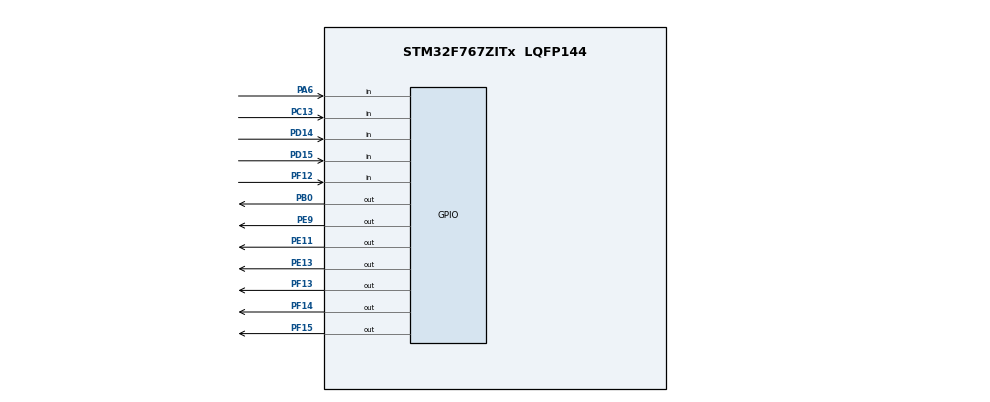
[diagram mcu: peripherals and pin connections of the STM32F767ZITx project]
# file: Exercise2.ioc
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Mcu.Family=STM32F7
Mcu.Name=STM32F767ZITx
Mcu.Package=LQFP144
NVIC.PriorityGroup=NVIC_PRIORITYGROUP_4
PA6.GPIO_PuPd=GPIO_PULLUP
PA6.Signal=GPIO_Input
PB0.Signal=GPIO_Output
PC13.GPIO_PuPd=GPIO_PULLDOWN
PC13.Signal=GPIO_Input
PD14.GPIO_PuPd=GPIO_PULLUP
PD14.Signal=GPIO_Input
PD15.GPIO_PuPd=GPIO_PULLUP
PD15.Signal=GPIO_Input
PE11.Signal=GPIO_Output
PE13.Signal=GPIO_Output
PE9.Signal=GPIO_Output
PF12.GPIO_PuPd=GPIO_PULLUP
PF12.Signal=GPIO_Input
PF13.Signal=GPIO_Output
PF14.Signal=GPIO_Output
PF15.Signal=GPIO_Output
ProjectManager.HeapSize=0x200
ProjectManager.StackSize=0x400
ProjectManager.TargetToolchain=STM32CubeIDE
RCC.HSE_VALUE=25000000
RCC.HSI_VALUE=16000000
RCC.LSE_VALUE=32768
RCC.USBFreq_Value=96000000
RCC.VCOOutputFreq_Value=192000000
board=custom

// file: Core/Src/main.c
/* USER CODE BEGIN Header */
/**
  ******************************************************************************
  * @file           : main.c
  * @brief          : Main program body
  ******************************************************************************
  * @attention
  *
  * Copyright (c) 2023 STMicroelectronics.
  * All rights reserved.
  *
  * This software is licensed under terms that can be found in the LICENSE file
  * in the root directory of this software component.
  * If no LICENSE file comes with this software, it is provided AS-IS.
  *
  ******************************************************************************
  */
/* USER CODE END Header */
#include "main.h"

/* USER CODE BEGIN PV */
	uint8_t click = 0;

/* USER CODE END PV */

void SystemClock_Config(void);
static void MX_GPIO_Init(void);

int main(void)
{

  /* MCU Configuration--------------------------------------------------------*/

  /* Reset of all peripherals, Initializes the Flash interface and the Systick. */
  HAL_Init();

  /* Configure the system clock */
  SystemClock_Config();

  /* Initialize all configured peripherals */
  MX_GPIO_Init();
  /* USER CODE BEGIN 2 */
  GPIO_TypeDef* GPIO_Ports[] = {GPIOF, GPIOE, GPIOE, GPIOF, GPIOE, GPIOF};
  uint16_t GPIO_Pins[] = {GPIO_PIN_13, GPIO_PIN_9, GPIO_PIN_11, GPIO_PIN_14, GPIO_PIN_13, GPIO_PIN_15};
  uint8_t j = 0;
  uint8_t s = -1;
  /* USER CODE END 2 */

  /* Infinite loop */
  while (1)
  {

    /* USER CODE BEGIN 3 */
	  //pff 13 pe 9 pe 11 pf14 pe 13 pf15
	  if(HAL_GPIO_ReadPin(GPIOD, GPIO_PIN_15) == GPIO_PIN_RESET)
	  {
		  for (int i = 0 ; i <= sizeof(GPIO_Pins) / sizeof(GPIO_Pins[0]); i++) {

		  if(j == 0)
		  {
			  HAL_GPIO_WritePin(GPIO_Ports[5], GPIO_Pins[5], RESET);
		  }
		  else
		  {
			  HAL_GPIO_WritePin(GPIO_Ports[s], GPIO_Pins[s], RESET);
		  }
		  HAL_GPIO_WritePin(GPIO_Ports[j], GPIO_Pins[j], SET);
		  HAL_Delay(300);
		  j = (j+1)%6;
		  }
	  }
	  else if(HAL_GPIO_ReadPin(GPIOF, GPIO_PIN_12) == GPIO_PIN_RESET)
	  {
		  if(j == 0)
		  {
			  HAL_GPIO_WritePin(GPIO_Ports[5], GPIO_Pins[5], RESET);
		  }
		  else
		  {
			  HAL_GPIO_WritePin(GPIO_Ports[j-1], GPIO_Pins[j-1], RESET);
		  }

		  HAL_GPIO_WritePin(GPIO_Ports[j], GPIO_Pins[j], SET);
		  j = (j+1)%6;
		  HAL_Delay(500);

	  }
  }
  /* USER CODE END 3 */
}

void SystemClock_Config(void)
{
  RCC_OscInitTypeDef RCC_OscInitStruct = {0};
  RCC_ClkInitTypeDef RCC_ClkInitStruct = {0};

  /** Configure the main internal regulator output voltage
  */
  __HAL_RCC_PWR_CLK_ENABLE();
  __HAL_PWR_VOLTAGESCALING_CONFIG(PWR_REGULATOR_VOLTAGE_SCALE3);

  /** Initializes the RCC Oscillators according to the specified parameters
  * in the RCC_OscInitTypeDef structure.
  */
  RCC_OscInitStruct.OscillatorType = RCC_OSCILLATORTYPE_HSI;
  RCC_OscInitStruct.HSIState = RCC_HSI_ON;
  RCC_OscInitStruct.HSICalibrationValue = RCC_HSICALIBRATION_DEFAULT;
  RCC_OscInitStruct.PLL.PLLState = RCC_PLL_NONE;
  if (HAL_RCC_OscConfig(&RCC_OscInitStruct) != HAL_OK)
  {
    Error_Handler();
  }

  /** Initializes the CPU, AHB and APB buses clocks
  */
  RCC_ClkInitStruct.ClockType = RCC_CLOCKTYPE_HCLK|RCC_CLOCKTYPE_SYSCLK
                              |RCC_CLOCKTYPE_PCLK1|RCC_CLOCKTYPE_PCLK2;
  RCC_ClkInitStruct.SYSCLKSource = RCC_SYSCLKSOURCE_HSI;
  RCC_ClkInitStruct.AHBCLKDivider = RCC_SYSCLK_DIV1;
  RCC_ClkInitStruct.APB1CLKDivider = RCC_HCLK_DIV1;
  RCC_ClkInitStruct.APB2CLKDivider = RCC_HCLK_DIV1;

  if (HAL_RCC_ClockConfig(&RCC_ClkInitStruct, FLASH_LATENCY_0) != HAL_OK)
  {
    Error_Handler();
  }
}

static void MX_GPIO_Init(void)
{
  GPIO_InitTypeDef GPIO_InitStruct = {0};

  /* GPIO Ports Clock Enable */
  __HAL_RCC_GPIOC_CLK_ENABLE();
  __HAL_RCC_GPIOA_CLK_ENABLE();
  __HAL_RCC_GPIOB_CLK_ENABLE();
  __HAL_RCC_GPIOF_CLK_ENABLE();
  __HAL_RCC_GPIOE_CLK_ENABLE();
  __HAL_RCC_GPIOD_CLK_ENABLE();

  /*Configure GPIO pin Output Level */
  HAL_GPIO_WritePin(GPIOB, GPIO_PIN_0, GPIO_PIN_RESET);

  /*Configure GPIO pin Output Level */
  HAL_GPIO_WritePin(GPIOF, GPIO_PIN_13|GPIO_PIN_14|GPIO_PIN_15, GPIO_PIN_RESET);

  /*Configure GPIO pin Output Level */
  HAL_GPIO_WritePin(GPIOE, GPIO_PIN_9|GPIO_PIN_11|GPIO_PIN_13, GPIO_PIN_RESET);

  /*Configure GPIO pin : PC13 */
  GPIO_InitStruct.Pin = GPIO_PIN_13;
  GPIO_InitStruct.Mode = GPIO_MODE_INPUT;
  GPIO_InitStruct.Pull = GPIO_PULLDOWN;
  HAL_GPIO_Init(GPIOC, &GPIO_InitStruct);

  /*Configure GPIO pin : PA6 */
  GPIO_InitStruct.Pin = GPIO_PIN_6;
  GPIO_InitStruct.Mode = GPIO_MODE_INPUT;
  GPIO_InitStruct.Pull = GPIO_PULLUP;
  HAL_GPIO_Init(GPIOA, &GPIO_InitStruct);

  /*Configure GPIO pin : PB0 */
  GPIO_InitStruct.Pin = GPIO_PIN_0;
  GPIO_InitStruct.Mode = GPIO_MODE_OUTPUT_PP;
  GPIO_InitStruct.Pull = GPIO_NOPULL;
  GPIO_InitStruct.Speed = GPIO_SPEED_FREQ_LOW;
  HAL_GPIO_Init(GPIOB, &GPIO_InitStruct);

  /*Configure GPIO pin : PF12 */
  GPIO_InitStruct.Pin = GPIO_PIN_12;
  GPIO_InitStruct.Mode = GPIO_MODE_INPUT;
  GPIO_InitStruct.Pull = GPIO_PULLUP;
  HAL_GPIO_Init(GPIOF, &GPIO_InitStruct);

  /*Configure GPIO pins : PF13 PF14 PF15 */
  GPIO_InitStruct.Pin = GPIO_PIN_13|GPIO_PIN_14|GPIO_PIN_15;
  GPIO_InitStruct.Mode = GPIO_MODE_OUTPUT_PP;
  GPIO_InitStruct.Pull = GPIO_NOPULL;
  GPIO_InitStruct.Speed = GPIO_SPEED_FREQ_LOW;
  HAL_GPIO_Init(GPIOF, &GPIO_InitStruct);

  /*Configure GPIO pins : PE9 PE11 PE13 */
  GPIO_InitStruct.Pin = GPIO_PIN_9|GPIO_PIN_11|GPIO_PIN_13;
  GPIO_InitStruct.Mode = GPIO_MODE_OUTPUT_PP;
  GPIO_InitStruct.Pull = GPIO_NOPULL;
  GPIO_InitStruct.Speed = GPIO_SPEED_FREQ_LOW;
  HAL_GPIO_Init(GPIOE, &GPIO_InitStruct);

  /*Configure GPIO pins : PD14 PD15 */
  GPIO_InitStruct.Pin = GPIO_PIN_14|GPIO_PIN_15;
  GPIO_InitStruct.Mode = GPIO_MODE_INPUT;
  GPIO_InitStruct.Pull = GPIO_PULLUP;
  HAL_GPIO_Init(GPIOD, &GPIO_InitStruct);

}

void Error_Handler(void)
{
  __disable_irq();
  while (1)
  {
  }
}
